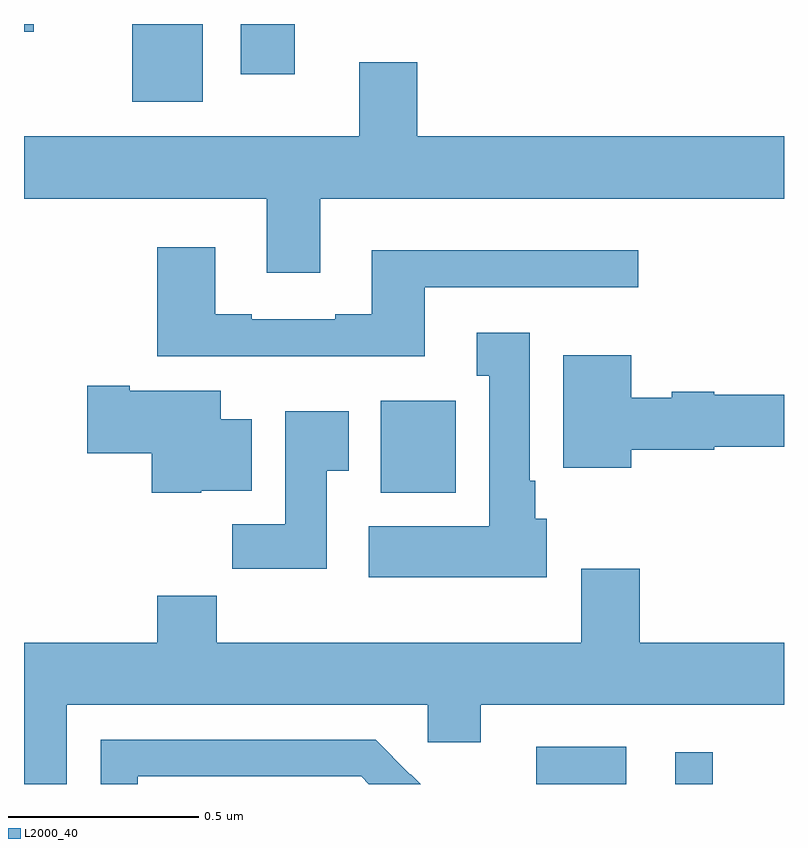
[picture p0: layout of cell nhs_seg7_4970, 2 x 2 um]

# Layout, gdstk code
import gdstk
lib = gdstk.Library(unit=1e-6, precision=1e-09)
def R(c, l, rs):  # rectangles x0, y0, x1, y1
    for r in rs: c.add(gdstk.rectangle(r[:2], r[2:], *l))
def P(c, l, *ps):  # polygons
    for p in ps: c.add(gdstk.Polygon(p, *l))
L2000_40 = (2000, 40)

nhs_seg7_4970 = lib.new_cell('nhs_seg7_4970')
R(nhs_seg7_4970, L2000_40, [(180.348,1075,180.585,1075.098), (180.714,1075,180.812,1075.084), (179.939,1075.766,180.136,1076.008), (179.285,1076.795,179.47,1077), (179.57,1076.868,179.713,1077), (179,1076.979,179.026,1077)])
P(nhs_seg7_4970, L2000_40, [(179.779,1076.54),(181,1076.54),(181,1076.704),(180.035,1076.704),(180.035,1076.899),(179.882,1076.899),(179.882,1076.704),(179,1076.704),(179,1076.54),(179.639,1076.54),(179.639,1076.346),(179.779,1076.346)],
  [(180.055,1076.307),(180.616,1076.307),(180.616,1076.404),(179.915,1076.404),(179.915,1076.236),(179.819,1076.236),(179.819,1076.223),(179.599,1076.223),(179.599,1076.236),(179.503,1076.236),(179.503,1076.413),(179.351,1076.413),(179.351,1076.126),(180.055,1076.126)],
  [(180.376,1075.698),(180.346,1075.698),(180.346,1075.798),(180.331,1075.798),(180.331,1076.188),(180.191,1076.188),(180.191,1076.075),(180.224,1076.075),(180.224,1075.678),(179.907,1075.678),(179.907,1075.544),(180.376,1075.544)],
  [(180.598,1075.88),(180.816,1075.88),(180.816,1075.888),(181,1075.888),(181,1076.024),(180.816,1076.024),(180.816,1076.032),(180.705,1076.032),(180.705,1076.017),(180.598,1076.017),(180.598,1076.128),(180.419,1076.128),(180.419,1075.832),(180.598,1075.832)],
  [(179.466,1075.772),(179.599,1075.772),(179.599,1075.96),(179.518,1075.96),(179.518,1076.035),(179.278,1076.035),(179.278,1076.048),(179.166,1076.048),(179.166,1075.87),(179.336,1075.87),(179.336,1075.766),(179.466,1075.766)],
  [(179.797,1075.825),(179.854,1075.825),(179.854,1075.981),(179.687,1075.981),(179.687,1075.684),(179.548,1075.684),(179.548,1075.566),(179.797,1075.566)],
  [(179.113,1075.208),(180.063,1075.208),(180.063,1075.11),(180.202,1075.11),(180.202,1075.208),(181,1075.208),(181,1075.372),(180.62,1075.372),(180.62,1075.567),(180.467,1075.567),(180.467,1075.372),(179.507,1075.372),(179.507,1075.496),(179.351,1075.496),(179.351,1075.372),(179,1075.372),(179,1075),(179.113,1075)],
  [(179.299,1075.02),(179.887,1075.02),(179.907,1075),(180.044,1075),(180.018,1075.026),(180.017,1075.025),(179.926,1075.116),(179.202,1075.116),(179.202,1075),(179.299,1075)])

lib.write_gds('nhs_seg7_4970.gds')
